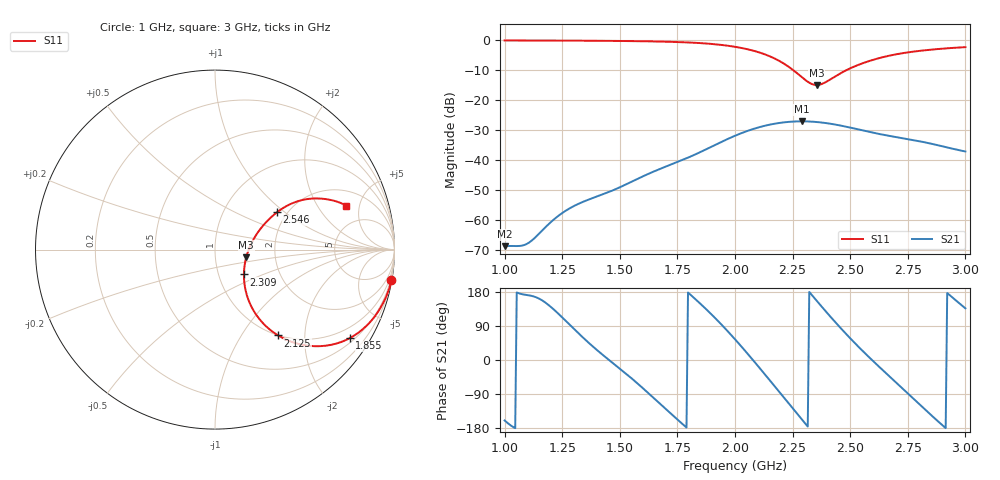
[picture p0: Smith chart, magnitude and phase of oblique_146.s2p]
! TOUCHSTONE file generated by CST MICROWAVE STUDIO
! Date and time: Tue Mar 18 00:02:21 2025
! Project name: oblique.cst
! Parameters = {Tilt=40; Fracture=1; B=10; D=160; F=25; Feed=2.85625; L=100; M=10; R=0.384908; S=1; Theta=180; length=57.125; wave=114.25}
! Header version: 2024
! Port assignment regex: !\s*Touchstone port\s*([0-9]+)\s*=\s*(CST MWS port|CST DES external port|CST DES block port)\s*(.+)\s* \(\"(.*)\"\)(\s*mode\s*([0-9]+))?.*
! Touchstone port assignment:
! Touchstone port 1 = CST MWS port 1 ("")
! Touchstone port 2 = CST MWS port 2 ("")
# GHz S DB R 50
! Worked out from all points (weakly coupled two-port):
!   305 points, 1 GHz to 3 GHz, reference 50 ohm
!   highest |S21| = -27.07 dB at 2.289 GHz (marker M1); lowest = -68.8 dB at 1 GHz (marker M2)
!   lowest |S11| = -14.9 dB at 2.355 GHz (marker M3), VSWR 1.44, Z = 70.7 - j6.28 ohm
!   |S11| at or under -10 dB: 2.254 GHz to 2.482 GHz (228.7 MHz wide, 9.66 % of centre)
!   S12 and S22 are empty: the file has one direction only
!   S11 on the Smith chart (normalised r, x): 1 GHz: 0, -12; 1.855 GHz: 0.63, -3.23; 2.125 GHz: 1.00, -1.47; 2.309 GHz: 1.32, -0.38; 2.546 GHz: 1.78, +0.88; 3 GHz: 3.07, +3.70
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1  -0.02 -9.8  -68.81 -159.5  -200.00 0.0  -200.00 0.0
1.06579  -0.03 -10.7  -68.73 175.3  -200.00 0.0  -200.00 0.0
1.09868  -0.03 -11.2  -67.96 171.3  -200.00 0.0  -200.00 0.0
1.23684  -0.06 -13.4  -58.47 120.1  -200.00 0.0  -200.00 0.0
1.33553  -0.09 -15.2  -54.14 61.9  -200.00 0.0  -200.00 0.0
1.47368  -0.17 -18.3  -50.03 -9.8  -200.00 0.0  -200.00 0.0
1.67105  -0.38 -24.4  -43.09 -113.6  -200.00 0.0  -200.00 0.0
1.85526  -0.93 -33.3  -37.14 145.3  -200.00 0.0  -200.00 0.0
2  -2.15 -43.6  -31.89 54.7  -200.00 0.0  -200.00 0.0
2.06579  -3.17 -48.9  -29.96 8.7  -200.00 0.0  -200.00 0.0
2.125  -4.53 -53.7  -28.63 -34.4  -200.00 0.0  -200.00 0.0
2.21053  -7.69 -57.7  -27.42 -97.8  -200.00 0.0  -200.00 0.0
2.28947  -12.26 -48.1  -27.07 -156.4  -200.00 0.0  -200.00 0.0
2.30921  -13.46 -40.6  -27.09 -170.9  -200.00 0.0  -200.00 0.0
2.33553  -14.65 -26.4  -27.18 170.0  -200.00 0.0  -200.00 0.0
2.35526  -14.93 -13.9  -27.30 155.8  -200.00 0.0  -200.00 0.0
2.38816  -14.18 5.0  -27.58 132.4  -200.00 0.0  -200.00 0.0
2.44737  -11.46 23.3  -28.32 91.7  -200.00 0.0  -200.00 0.0
2.54605  -7.87 31.1  -29.96 28.7  -200.00 0.0  -200.00 0.0
2.67105  -5.09 29.7  -31.95 -43.6  -200.00 0.0  -200.00 0.0
2.82895  -3.26 24.1  -34.17 -133.0  -200.00 0.0  -200.00 0.0
3  -2.26 18.5  -37.15 136.3  -200.00 0.0  -200.00 0.0
